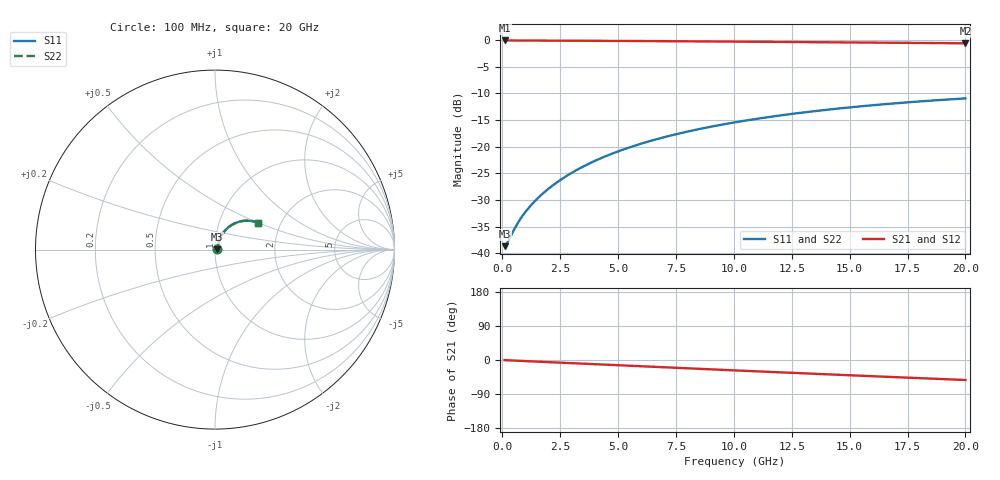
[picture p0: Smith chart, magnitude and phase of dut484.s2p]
! Touchstone file exported from HFSS 2026.1.0
!  File:  C:/ffzhzh/LocalFiles/Ansys_Project_Files/temp_train_BSMRDL_484_1783013898_55676.aedt
!  Generated:  01:39:34 AM Jul  3, 2026
!  Design:  BSMRDL
!  Project:  temp_train_BSMRDL_484_1783013898_55676
! Variables:
!  h_bsmrdl = 2.52um
!  h_ox = 20um
!  h_rdl = 5um
!  h_sub = 80um
!  h_tmrdl = 5um
!  h_tsv = 80um
!  h_via = 3um
!  l_bsmrdl = 923.73um
!  l_sub = 1323.73um
!  l_tmrdl = 200um
!  m_sub = 200um
!  pitch = 17.83um
!  r_tsv = 6um
!  s_tmrdl = 10um
!  w_bsmrdl = 11.17um
!  w_sub = 500um
!  w_tmrdl = 12um
!  x_tsv_center1 = 206um
!  x_tsv_center2 = 1140.9um
!  x_tsv_center3 = 1352.9um
!  x_tsv_center4 = 2287.8um
!  x_tsv_center5 = 2499.8um
!  x_tsv_center6 = 3434.7um
# GHz S MA R 50.000000
! Terminal data exported
! Port[1] = BSM_RDL1_1_T1
! Port[2] = BSM_RDL1_1_T2
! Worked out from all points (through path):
!   200 points, 100 MHz to 20 GHz, reference 50 ohm
!   highest |S21| = -0.10 dB at 100 MHz (marker M1); lowest = -0.6 dB at 20 GHz (marker M2)
!   group delay of S21, straight-line fit = 7.33 ps
!   lowest |S11| = -38.6 dB at 100 MHz (marker M3), VSWR 1.02, Z = 51.2 + j0.229 ohm
!   |S11| at or under -10 dB: start of sweep to end of sweep
!   |S22| runs from -38.6 to -11.0 dB; largest |S21 - S12| = 4.5e-15
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0.1  0.01171 11.0  0.9885 -0.3  0.9885 -0.3  0.01171 11.0
! Gamma 0 0 0 0
! Port Impedance 50 0 50 0
0.2  0.0125 20.8  0.9884 -0.6  0.9884 -0.6  0.0125 20.8
0.6  0.01816 43.3  0.9871 -1.8  0.9871 -1.8  0.01816 43.3
0.8  0.02135 48.6  0.9864 -2.4  0.9864 -2.4  0.02135 48.6
1.1  0.02609 53.9  0.9856 -3.2  0.9856 -3.2  0.02609 53.9
1.4  0.03083 57.5  0.9849 -4.0  0.9849 -4.0  0.03083 57.5
1.8  0.03722 60.8  0.9842 -5.1  0.9842 -5.1  0.03722 60.8
2.3  0.04536 63.4  0.9835 -6.5  0.9835 -6.5  0.04536 63.4
2.9  0.05529 65.0  0.9826 -8.1  0.9826 -8.1  0.05529 65.0
3.5  0.06532 65.7  0.9816 -9.8  0.9816 -9.8  0.06532 65.7
4.2  0.07705 65.7  0.9803 -11.7  0.9803 -11.7  0.07705 65.7
5  0.09038 65.0  0.9786 -13.9  0.9786 -13.9  0.09038 65.0
5.9  0.1052 63.8  0.9765 -16.3  0.9765 -16.3  0.1052 63.8
6.8  0.1197 62.2  0.9741 -18.8  0.9741 -18.8  0.1197 62.3
7.6  0.1324 60.6  0.9719 -20.9  0.9719 -20.9  0.1324 60.7
8.4  0.1447 59.0  0.9695 -23.1  0.9695 -23.1  0.1447 59.0
10.1  0.1699 55.1  0.964 -27.6  0.964 -27.6  0.1699 55.2
11.7  0.1921 51.4  0.9585 -31.8  0.9585 -31.8  0.1921 51.5
13.4  0.2142 47.4  0.9525 -36.2  0.9525 -36.2  0.2142 47.5
15  0.2334 43.6  0.9468 -40.3  0.9468 -40.3  0.2334 43.7
16.7  0.2521 39.5  0.9409 -44.6  0.9409 -44.6  0.2521 39.6
20  0.2834 31.7  0.9303 -52.8  0.9303 -52.8  0.2834 31.9
